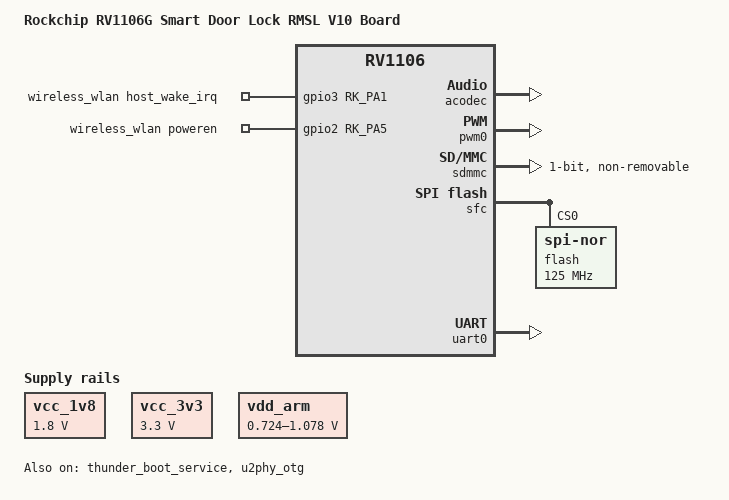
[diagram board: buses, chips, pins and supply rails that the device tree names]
// SPDX-License-Identifier: (GPL-2.0+ OR MIT)
/*
 * Copyright (c) 2022 Rockchip Electronics Co., Ltd.
 */

/dts-v1/;

#include "rv1106.dtsi"
#include "rv1106-evb.dtsi"
#include "rv1106-thunder-boot-spi-nor.dtsi"
#include "rv1106-smd-cam.dtsi"

/ {
	model = "Rockchip RV1106G Smart Door Lock RMSL V10 Board";
	compatible = "rockchip,rv1106g-smart-door-lock-rmsl-v10", "rockchip,rv1106";

	/* rkaiq_prd_type: 1 for one camera, 2 for multi camera */
	chosen {
		bootargs = "loglevel=0 rootfstype=erofs rootflags=dax console=ttyFIQ0 root=/dev/rd0 snd_soc_core.prealloc_buffer_size_kbytes=16 coherent_pool=0 driver_async_probe=dwmmc_rockchip";
	};

	acodec_sound: acodec-sound {
		compatible = "simple-audio-card";
		simple-audio-card,name = "rv1106-acodec";
		simple-audio-card,format = "i2s";
		simple-audio-card,mclk-fs = <256>;
		simple-audio-card,cpu {
			sound-dai = <&i2s0_8ch>;
		};
		simple-audio-card,codec {
			sound-dai = <&acodec>;
		};
	};

	vcc_1v8: vcc-1v8 {
		compatible = "regulator-fixed";
		regulator-name = "vcc_1v8";
		regulator-always-on;
		regulator-boot-on;
		regulator-min-microvolt = <1800000>;
		regulator-max-microvolt = <1800000>;
	};

	vcc_3v3: vcc-3v3 {
		compatible = "regulator-fixed";
		regulator-name = "vcc_3v3";
		regulator-always-on;
		regulator-boot-on;
		regulator-min-microvolt = <3300000>;
		regulator-max-microvolt = <3300000>;
	};

	vdd_arm: vdd-arm {
		compatible = "pwm-regulator";
		pwms = <&pwm0 0 5000 1>;
		regulator-name = "vdd_arm";
		regulator-min-microvolt = <724000>;
		regulator-max-microvolt = <1078000>;
		regulator-init-microvolt = <950000>;
		regulator-always-on;
		regulator-boot-on;
		regulator-settling-time-up-us = <250>;
	};

	wireless_wlan: wireless-wlan {
		compatible = "wlan-platdata";
		wifi_chip_type = "Hi3861L";
		WIFI,host_wake_irq = <&gpio3 RK_PA1 GPIO_ACTIVE_HIGH>;
		WIFI,poweren_gpio = <&gpio2 RK_PA5 GPIO_ACTIVE_HIGH>;
		status = "okay";
	};
};

&acodec {
	#sound-dai-cells = <0>;
	pa-ctl-gpios = <&gpio2 RK_PA4 GPIO_ACTIVE_HIGH>;
	status = "okay";
};

&cpu0 {
	cpu-supply = <&vdd_arm>;
};

&dsm {
	status = "disabled";
};

&emmc {
	status = "disabled";
};

&fiq_debugger {
	rockchip,baudrate = <1500000>;
	pinctrl-names = "default";
	pinctrl-0 = <&uart2m1_xfer>;
};

&gmac {
	status = "disabled";
};

&pinctrl {
	mcu {
		/omit-if-no-ref/
		mcu_wake_det: mcu-wake-det {
			rockchip,pins = <0 RK_PA5 RK_FUNC_GPIO &pcfg_pull_none>;
		};

	};

	pow_hold: pow-hold {
		rockchip,pins = <0 RK_PA3 RK_FUNC_GPIO &pcfg_pull_none>;
	};
};

&pwm0 {
	status = "okay";
};

&sdmmc {
	max-frequency = <50000000>;
	bus-width = <1>;
	cap-sd-highspeed;
	cap-sdio-irq;
	keep-power-in-suspend;
	non-removable;
	rockchip,default-sample-phase = <90>;
	supports-sdio;
	supports-chip-alive;
	//logic-remove-card;
	pinctrl-names = "default";
	pinctrl-0 = <&sdmmc0_cmd &sdmmc0_clk &sdmmc0_bus4>;
	status = "okay";
};

&sfc {
	assigned-clocks = <&cru SCLK_SFC>;
	assigned-clock-rates = <125000000>;
	status = "okay";

	flash@0 {
		compatible = "jedec,spi-nor";
		reg = <0>;
		spi-max-frequency = <125000000>;
		spi-rx-bus-width = <4>;
		spi-tx-bus-width = <1>;
	};
};

&thunder_boot_service {
	status = "okay";
};

&u2phy_otg {
	status = "okay";
};

&uart0 {
	status = "okay";
};
